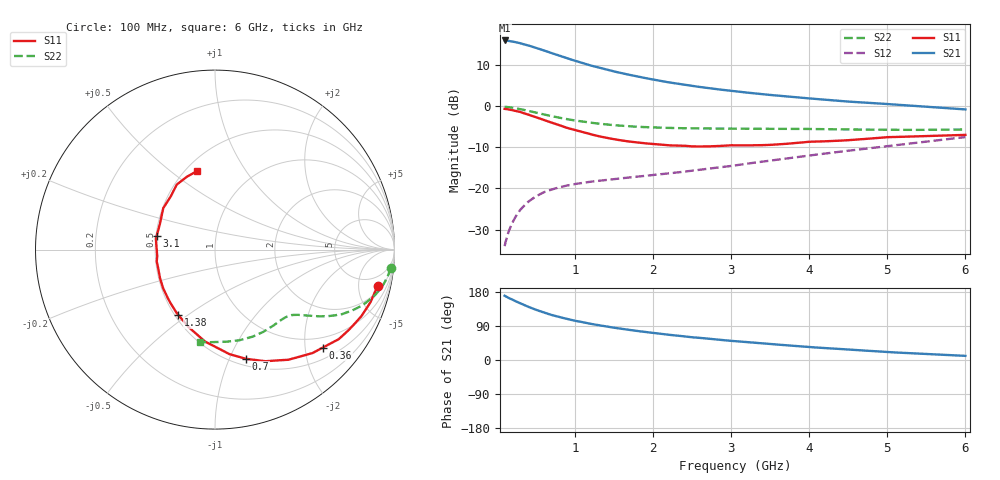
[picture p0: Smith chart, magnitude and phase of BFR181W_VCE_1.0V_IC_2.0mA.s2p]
! Infineon Technologies  Discrete & RF Semiconductors
! BFR181W
! VCE =  1.0 V,  IC =  2.0 mA
! Common Emitter S-Parameters:  Nov 2015
# GHz  S  MA  R  50
!  f  S11  S21  S12  S22
! GHz  MAG  ANG  MAG  ANG  MAG  ANG  MAG  ANG
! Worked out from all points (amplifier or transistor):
!   192 points, 100 MHz to 6 GHz, reference 50 ohm
!   highest |S21| = 16.0 dB at 100 MHz (marker M1)
!   |S21| within 3 dB of that: start of sweep to 690.6 MHz
!   unconditionally stable (mu >= 1): 1.918 GHz to 3.771 GHz
!   at 440 MHz: K = 0.31, MSG = 18.6 dB, |S12| = -22.7 dB
!   at 1.7 GHz: K = 0.94, MSG = 12.5 dB, |S12| = -17.3 dB
!   at 6 GHz: K = 0.82, MSG = 3.4 dB, |S12| = -7.5 dB
!   S11 on the Smith chart (normalised r, x): 100 MHz: 2.79, -8.11; 360 MHz: 0.75, -2.39; 700 MHz: 0.57, -1.15; 1.38 GHz: 0.52, -0.46; 3.1 GHz: 0.50, +0.09; 6 GHz: 0.57, +0.62
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0.1  0.9279 -12.6  6.288 169.5  0.0199 82.2  0.9842 -6.0
0.15  0.9146 -18.7  6.213 164.1  0.0296 78.8  0.9738 -8.8
0.24  0.8761 -29.2  6 155.2  0.0453 73.0  0.9446 -13.6
0.3  0.8511 -35.9  5.813 149.6  0.0549 69.5  0.9224 -16.4
0.36  0.8122 -42.2  5.601 144.3  0.0631 66.1  0.8961 -18.9
0.4  0.7921 -46.7  5.488 140.5  0.0686 64.3  0.8795 -20.6
0.5  0.737 -56.4  5.122 132.6  0.0801 59.6  0.8355 -24.0
0.6  0.6824 -65.7  4.77 125.4  0.0898 56.2  0.7944 -26.9
0.7  0.6322 -74.2  4.421 118.9  0.0969 53.4  0.757 -29.0
0.8  0.5882 -82.1  4.118 113.3  0.1033 51.2  0.7239 -30.9
0.9  0.5447 -89.2  3.815 108.3  0.1086 49.7  0.6954 -32.3
1  0.5148 -96.3  3.572 103.6  0.1131 48.4  0.67 -33.6
1.1  0.4826 -102.2  3.34 99.8  0.1169 47.6  0.6494 -34.6
1.2  0.4561 -108.8  3.125 95.4  0.1208 46.9  0.629 -35.7
1.38  0.4175 -119.4  2.821 89.2  0.1262 46.5  0.6027 -37.2
1.66  0.3756 -134.8  2.446 80.5  0.1349 47.1  0.5732 -39.4
2.08  0.3411 -154.9  2.043 69.5  0.1481 49.2  0.5482 -42.9
2.5  0.3242 -172.6  1.761 60.0  0.1642 51.8  0.538 -46.7
3.1  0.3338 166.8  1.497 49.0  0.1937 55.1  0.5326 -54.0
4.1  0.3714 138.9  1.221 32.8  0.2583 56.8  0.5265 -68.2
5.1  0.4222 118.6  1.046 19.9  0.3363 54.8  0.5161 -84.5
6  0.448 103.3  0.913 10.9  0.4207 50.5  0.5218 -99.1
